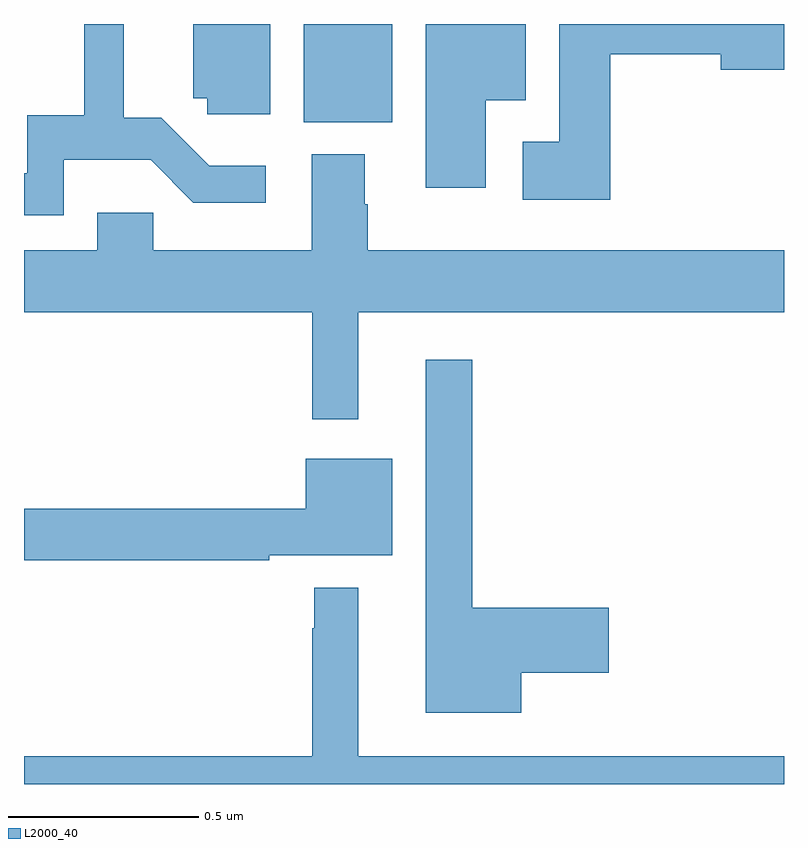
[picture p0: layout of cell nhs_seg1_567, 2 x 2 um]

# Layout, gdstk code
import gdstk
lib = gdstk.Library(unit=1e-6, precision=1e-09)
def R(c, l, rs):  # rectangles x0, y0, x1, y1
    for r in rs: c.add(gdstk.rectangle(r[:2], r[2:], *l))
def P(c, l, *ps):  # polygons
    for p in ps: c.add(gdstk.Polygon(p, *l))
L2000_40 = (2000, 40)

nhs_seg1_567 = lib.new_cell('nhs_seg1_567')
R(nhs_seg1_567, L2000_40, [(118.736,510.941,118.969,511.199)])
P(nhs_seg1_567, L2000_40, [(119.215,510.998),(119.32,510.998),(119.32,511.199),(119.057,511.199),(119.057,510.768),(119.215,510.768)],
  [(119.543,511.12),(119.834,511.12),(119.834,511.078),(120,511.078),(120,511.199),(119.408,511.199),(119.408,510.889),(119.313,510.889),(119.313,510.737),(119.543,510.737)],
  [(118.104,510.842),(118.333,510.842),(118.446,510.729),(118.636,510.729),(118.636,510.826),(118.487,510.826),(118.361,510.952),(118.262,510.952),(118.262,511.199),(118.159,511.199),(118.159,510.959),(118.008,510.959),(118.008,510.806),(118,510.806),(118,510.696),(118.104,510.696)],
  [(118.648,511.199),(118.445,511.199),(118.445,511.004),(118.482,511.004),(118.482,510.962),(118.648,510.962)],
  [(118.879,510.44),(120,510.44),(120,510.604),(118.905,510.604),(118.905,510.725),(118.897,510.725),(118.897,510.856),(118.757,510.856),(118.757,510.604),(118.34,510.604),(118.34,510.702),(118.193,510.702),(118.193,510.604),(118,510.604),(118,510.44),(118.758,510.44),(118.758,510.159),(118.879,510.159)],
  [(119.308,509.492),(119.539,509.492),(119.539,509.663),(119.179,509.663),(119.179,510.316),(119.057,510.316),(119.057,509.387),(119.308,509.387)],
  [(118.646,509.801),(118.969,509.801),(118.969,510.055),(118.742,510.055),(118.742,509.924),(118,509.924),(118,509.788),(118.646,509.788)],
  [(120,509.272),(118.879,509.272),(118.879,509.716),(118.764,509.716),(118.764,509.609),(118.758,509.609),(118.758,509.272),(118,509.272),(118,509.199),(120,509.199)])

lib.write_gds('nhs_seg1_567.gds')
